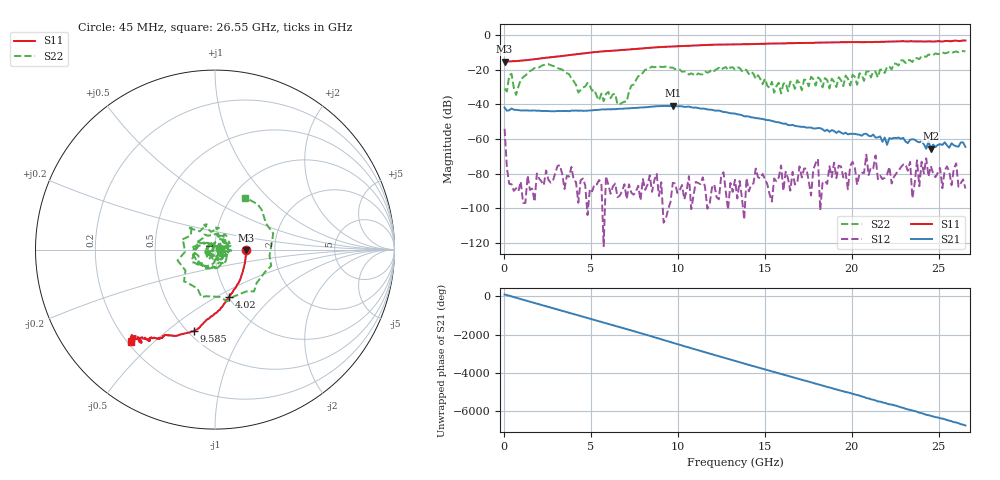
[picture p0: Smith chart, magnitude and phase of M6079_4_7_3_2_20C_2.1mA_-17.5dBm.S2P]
!  2-Port S-parameters saved by WinCal
! VAR MeasName=S-Parameters (CALIBRATED_DATA) read from VNA (C)
! VAR MeasDate=10/5/2015 4:50:22 PM
! VAR NAME=M6079_4_7_3_2_20C_2.1mA_-17.5dBm
! VAR FILENAME=M6079_4_7_3_2_20C_2.1mA_-17.5dBm.S2P
! VAR DATE=10/5/2015 4:50:22 PM
! VAR PHYS_PORTS=2,1
! VAR ObjTypeName=DATASET
! VAR IndexType=Frequency
# Hz S DB R 50
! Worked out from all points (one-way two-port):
!   201 points, 45 MHz to 26.55 GHz, reference 50 ohm
!   highest |S21| = -40.82 dB at 9.717 GHz (marker M1); lowest = -65.6 dB at 24.56 GHz (marker M2)
!   lowest |S11| = -15.3 dB at 45 MHz (marker M3), VSWR 1.41, Z = 70.7 - j0.482 ohm
!   |S11| at or under -10 dB: start of sweep to 5.075 GHz
!   |S22| runs from -40.1 to -9.2 dB; largest |S21 - S12| = 0.0099
!   S11 on the Smith chart (normalised r, x): 45 MHz: 1.41, -0.01; 4.02 GHz: 1.01, -0.57; 9.585 GHz: 0.54, -0.62; 26.55 GHz: 0.21, -0.43
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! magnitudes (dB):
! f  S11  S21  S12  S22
! 45 MHz  -15.3  -41.9  -54.1  -30.8
! 177.5 MHz  -15.3  -43.7  -76.6  -32.6
! 310 MHz  -15.2  -43.4  -85.9  -23.3
! 707.5 MHz  -15.0  -43.2  -88.4  -34.6
! 2.43 GHz  -13.1  -43.8  -78.2  -16.9
! 4.02 GHz  -11.3  -43.7  -83.7  -26.7
! 4.55 GHz  -10.6  -43.8  -82.8  -30.2
! 6.67 GHz  -8.7  -42.6  -92.8  -39.9
! 8.922 GHz  -7.0  -41.0  -93.0  -18.0
! 9.585 GHz  -6.6  -41.0  -96.5  -18.7
! 9.717 GHz  -6.5  -40.8  -85.3  -18.8
! 13.29 GHz  -5.3  -45.3  -83.6  -20.0
! 15.55 GHz  -4.9  -49.9  -82.8  -33.3
! 17.8 GHz  -4.5  -54.0  -77.7  -25.4
! 20.71 GHz  -4.1  -57.1  -79.6  -26.5
! 20.85 GHz  -4.0  -57.0  -69.1  -21.0
! 20.98 GHz  -4.0  -58.2  -80.8  -20.9
! 21.38 GHz  -3.9  -59.2  -69.5  -21.1
! 21.51 GHz  -4.0  -59.1  -83.2  -24.5
! 22.17 GHz  -3.8  -59.5  -76.2  -18.3
! 24.56 GHz  -3.6  -65.6  -75.6  -11.6
! 26.55 GHz  -3.1  -64.6  -88.6  -9.5
